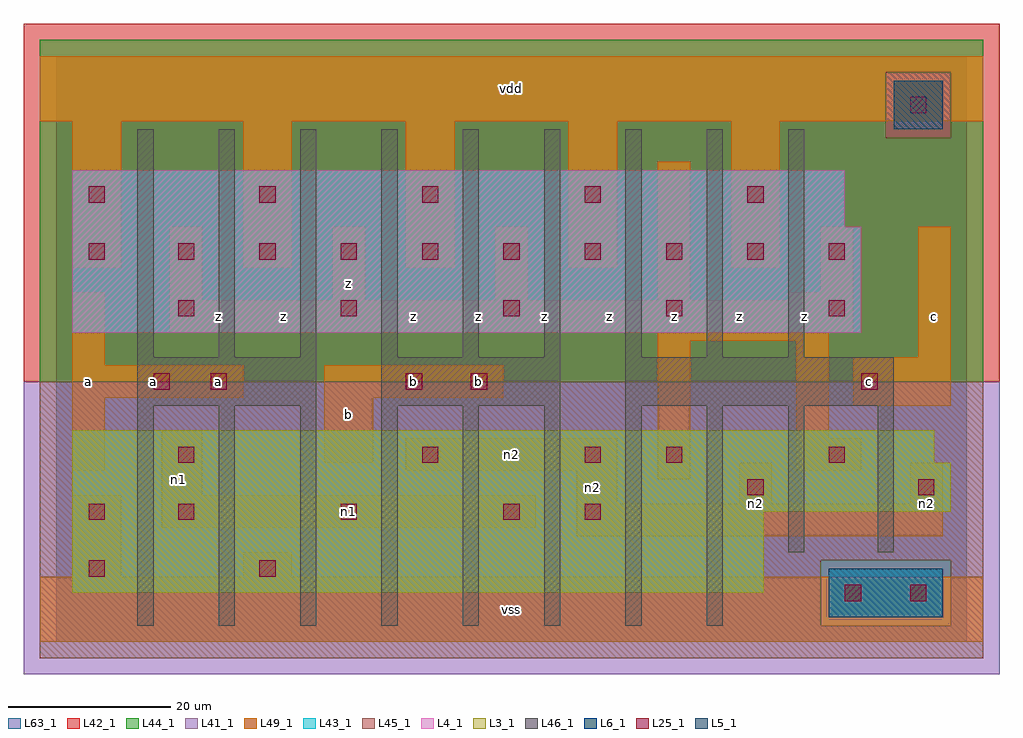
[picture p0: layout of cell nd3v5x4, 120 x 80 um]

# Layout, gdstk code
import gdstk
lib = gdstk.Library(unit=1e-6, precision=1e-09)
def R(c, l, rs):  # rectangles x0, y0, x1, y1
    for r in rs: c.add(gdstk.rectangle(r[:2], r[2:], *l))
def A(c, l, x, y, w, h, nx, ny, dx, dy):  # array of equal rectangles
    R(c, l, [(x+i*dx, y+j*dy, x+i*dx+w, y+j*dy+h) for i in range(nx) for j in range(ny)])
L3_1 = (3, 1)
L4_1 = (4, 1)
L5_1 = (5, 1)
L6_1 = (6, 1)
L25_1 = (25, 1)
L41_1 = (41, 1)
L42_1 = (42, 1)
L43_1 = (43, 1)
L44_1 = (44, 1)
L45_1 = (45, 1)
L46_1 = (46, 1)
L49_1 = (49, 1)
L63_1 = (63, 1)

nd3v5x4 = lib.new_cell('nd3v5x4')
R(nd3v5x4, L3_1, [(2,6,87,16), (2,16,110,22), (2,22,108,26)])
R(nd3v5x4, L4_1, [(2,38,99,51), (2,51,97,58)])
R(nd3v5x4, L5_1, [(103,63,109,69)])
R(nd3v5x4, L6_1, [(95,3,109,9), (95,3,109,9)])
A(nd3v5x4, L25_1, 15, 15, 2, 2, 3, 1, 20, 0)
A(nd3v5x4, L25_1, 15, 40, 2, 2, 5, 1, 20, 0)
A(nd3v5x4, L25_1, 15, 47, 2, 2, 9, 1, 10, 0)
A(nd3v5x4, L25_1, 25, 54, 2, 2, 4, 1, 20, 0)
R(nd3v5x4, L25_1, [(97,5,99,7), (105,5,107,7), (4,8,6,10), (25,8,27,10), (4,15,6,17), (65,15,67,17), (85,18,87,20), (106,18,108,20), (15,22,17,24), (45,22,47,24), (65,22,67,24), (75,22,77,24), (95,22,97,24), (12,31,14,33), (19,31,21,33), (43,31,45,33), (51,31,53,33), (99,31,101,33), (4,47,6,49), (4,54,6,56), (105,65,107,67)])
R(nd3v5x4, L41_1, [(-4,-4,116,32)])
R(nd3v5x4, L42_1, [(-4,32,116,76)])
R(nd3v5x4, L43_1, [(95,3,109,9), (2,6,87,16), (2,16,110,22), (2,22,108,26), (2,38,99,51), (2,51,97,58), (103,63,109,69)])
R(nd3v5x4, L44_1, [(94,2,110,10), (-2,32,114,62), (-2,62,102,70), (110,62,114,70), (-2,70,114,74)])
R(nd3v5x4, L45_1, [(-2,-2,114,2), (-2,2,94,10), (110,2,114,10), (-2,10,114,32), (102,62,110,70)])
A(nd3v5x4, L46_1, 10, 2, 2, 27, 8, 1, 10, 0)
A(nd3v5x4, L46_1, 10, 35, 2, 28, 9, 1, 10, 0)
R(nd3v5x4, L46_1, [(90,11,92,29), (101,11,103,29), (10,29,32,35), (40,29,62,35), (70,29,103,35)])
A(nd3v5x4, L49_1, 14, 42, 4, 9, 3, 1, 20, 0)
A(nd3v5x4, L49_1, 23, 46, 6, 18, 4, 1, 20, 0)
R(nd3v5x4, L49_1, [(-2,0,114,8), (2,8,8,18), (23,8,29,11), (64,13,109,17), (13,14,59,18), (64,17,69,21), (84,17,88,22), (105,17,109,22), (13,18,18,26), (74,20,78,37), (2,21,6,30), (43,21,69,25), (91,21,99,25), (33,22,39,30), (91,25,95,37), (98,29,110,35), (2,30,23,34), (33,30,55,34), (2,34,6,43), (106,35,110,51), (74,37,95,38), (14,38,98,42), (74,42,78,59), (90,42,98,43), (94,43,98,51), (2,46,8,64), (-2,64,114,72)])
R(nd3v5x4, L63_1, [(0,0,112,72)])
nd3v5x4.add(gdstk.Label('n1', (15,20), layer=49, texttype=1))
nd3v5x4.add(gdstk.Label('a', (4,32), layer=49, texttype=1))
nd3v5x4.add(gdstk.Label('a', (12,32), layer=49, texttype=1))
nd3v5x4.add(gdstk.Label('b', (36,28), layer=49, texttype=1))
nd3v5x4.add(gdstk.Label('a', (20,32), layer=49, texttype=1))
nd3v5x4.add(gdstk.Label('z', (20,40), layer=49, texttype=1))
nd3v5x4.add(gdstk.Label('z', (28,40), layer=49, texttype=1))
nd3v5x4.add(gdstk.Label('z', (36,44), layer=49, texttype=1))
nd3v5x4.add(gdstk.Label('vss', (56,4), layer=49, texttype=1))
nd3v5x4.add(gdstk.Label('n1', (36,16), layer=49, texttype=1))
nd3v5x4.add(gdstk.Label('b', (52,32), layer=49, texttype=1))
nd3v5x4.add(gdstk.Label('b', (44,32), layer=49, texttype=1))
nd3v5x4.add(gdstk.Label('z', (44,40), layer=49, texttype=1))
nd3v5x4.add(gdstk.Label('z', (52,40), layer=49, texttype=1))
nd3v5x4.add(gdstk.Label('z', (60,40), layer=49, texttype=1))
nd3v5x4.add(gdstk.Label('vdd', (56,68), layer=49, texttype=1))
nd3v5x4.add(gdstk.Label('n2', (86,17), layer=49, texttype=1))
nd3v5x4.add(gdstk.Label('n2', (66,19), layer=49, texttype=1))
nd3v5x4.add(gdstk.Label('n2', (56,23), layer=49, texttype=1))
nd3v5x4.add(gdstk.Label('z', (68,40), layer=49, texttype=1))
nd3v5x4.add(gdstk.Label('z', (76,40), layer=49, texttype=1))
nd3v5x4.add(gdstk.Label('z', (84,40), layer=49, texttype=1))
nd3v5x4.add(gdstk.Label('n2', (107,17), layer=49, texttype=1))
nd3v5x4.add(gdstk.Label('c', (100,32), layer=49, texttype=1))
nd3v5x4.add(gdstk.Label('z', (92,40), layer=49, texttype=1))
nd3v5x4.add(gdstk.Label('c', (108,40), layer=49, texttype=1))

lib.write_gds('nd3v5x4.gds')
